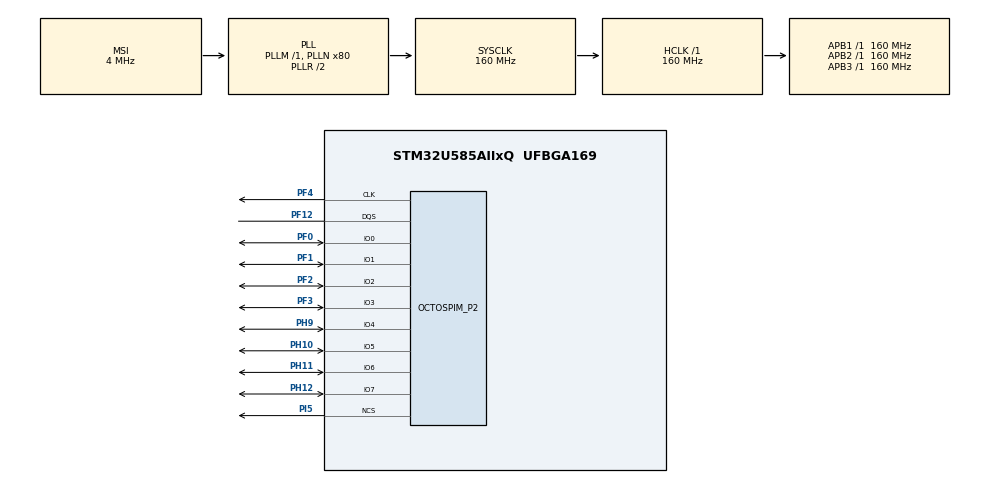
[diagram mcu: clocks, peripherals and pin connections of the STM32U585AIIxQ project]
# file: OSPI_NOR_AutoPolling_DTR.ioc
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CORTEX_M33_NS.userName=CORTEX_M33
DCACHE1.DCACHE_Read_Burst_Type=DCACHE_READ_BURST_INCR
Mcu.Family=STM32U5
Mcu.Name=STM32U585AIIxQ
Mcu.Package=UFBGA169
NVIC.OCTOSPI2_IRQn=true\:0\:0\:false\:false\:true\:true\:true\:true
NVIC.PriorityGroup=NVIC_PRIORITYGROUP_4
OCTOSPI2.ChipSelectBoundary=0
OCTOSPI2.ChipSelectHighTime=2
OCTOSPI2.ClockPrescaler=4
OCTOSPI2.DelayBlockBypass=HAL_OSPI_DELAY_BLOCK_USED
OCTOSPI2.DelayHoldQuarterCycle=HAL_OSPI_DHQC_ENABLE
OCTOSPI2.DeviceSize=26
OCTOSPI2.FifoThreshold=4
OCTOSPI2.MemoryType=HAL_OSPI_MEMTYPE_MACRONIX
OCTOSPI2.PhaseSel=2
OCTOSPI2.Units=56
PF0.GPIO_Speed_High_Default=GPIO_SPEED_FREQ_HIGH
PF0.Mode=OCTOSPI2_IOL_Port2L
PF0.Signal=OCTOSPIM_P2_IO0
PF1.GPIO_Speed_High_Default=GPIO_SPEED_FREQ_HIGH
PF1.Mode=OCTOSPI2_IOL_Port2L
PF1.Signal=OCTOSPIM_P2_IO1
PF12.GPIO_Speed_High_Default=GPIO_SPEED_FREQ_HIGH
PF12.Mode=OCTOSPI2_Port2_DQS
PF12.Signal=OCTOSPIM_P2_DQS
PF2.GPIO_Speed_High_Default=GPIO_SPEED_FREQ_HIGH
PF2.Mode=OCTOSPI2_IOL_Port2L
PF2.Signal=OCTOSPIM_P2_IO2
PF3.GPIO_Speed_High_Default=GPIO_SPEED_FREQ_HIGH
PF3.Mode=OCTOSPI2_IOL_Port2L
PF3.Signal=OCTOSPIM_P2_IO3
PF4.GPIO_Speed_High_Default=GPIO_SPEED_FREQ_HIGH
PF4.Mode=O2_P2_CLK
PF4.Signal=OCTOSPIM_P2_CLK
PH10.GPIO_Speed_High_Default=GPIO_SPEED_FREQ_HIGH
PH10.Mode=OCTOSPI2_IOH_Port2H
PH10.Signal=OCTOSPIM_P2_IO5
PH11.GPIO_Speed_High_Default=GPIO_SPEED_FREQ_HIGH
PH11.Mode=OCTOSPI2_IOH_Port2H
PH11.Signal=OCTOSPIM_P2_IO6
PH12.GPIO_Speed_High_Default=GPIO_SPEED_FREQ_HIGH
PH12.Mode=OCTOSPI2_IOH_Port2H
PH12.Signal=OCTOSPIM_P2_IO7
PH9.GPIO_Speed_High_Default=GPIO_SPEED_FREQ_HIGH
PH9.Mode=OCTOSPI2_IOH_Port2H
PH9.Signal=OCTOSPIM_P2_IO4
PI5.GPIO_PuPd=GPIO_NOPULL
PI5.GPIO_Speed_High_Default=GPIO_SPEED_FREQ_HIGH
PI5.Mode=OCTOSPI2_Port2_NCS
PI5.Signal=OCTOSPIM_P2_NCS
PWR.PowerMode=PWR_SMPS_SUPPLY
ProjectManager.HeapSize=0x200
ProjectManager.StackSize=0x400
ProjectManager.TargetToolchain=EWARM V8.50
RCC.ADCFreq_Value=16000000
RCC.AHBFreq_Value=160000000
RCC.APB1Freq_Value=160000000
RCC.APB1TimFreq_Value=160000000
RCC.APB2Freq_Value=160000000
RCC.APB2TimFreq_Value=160000000
RCC.APB3Freq_Value=160000000
RCC.CortexFreq_Value=160000000
RCC.DACCLockSelectionVirtual=RCC_DAC1CLKSOURCE_LSI
RCC.DACCLockSelectionVirtualString=RCC_DAC1CLKSOURCE_LSI
RCC.EPOD_VALUE=4000000
RCC.HCLKFreq_Value=160000000
RCC.HSE_VALUE=16000000
RCC.HSI48_VALUE=48000000
RCC.HSI_VALUE=16000000
RCC.LSE_VALUE=32768
RCC.LSIDIV_VALUE=32000
RCC.MSI_VALUE=4000000
RCC.PLLN=80
RCC.SYSCLKFreq_VALUE=160000000
RCC.SYSCLKSource=RCC_SYSCLKSOURCE_PLLCLK
RCC.USBFreq_Value=48000000
RCC.VCOOutputFreq_Value=320000000
VP_DCACHE1_VS_DCACHE.Mode=DCACHE_Activate
VP_ICACHE_VS_ICACHE.Mode=DirectMappedCache
VP_LPBAMQUEUE_VS_QUEUE.Mode=QUEUEMODE
VP_LPBAM_VS_SIG1.Mode=SmartRun
VP_LPBAM_VS_SIG4.Mode=LPDMA1
VP_OCTOSPI2_VS_octo.Mode=octo_mode
VP_PWR_VS_DBSignals.Mode=DisableDeadBatterySignals
VP_PWR_VS_LPOM.Mode=PowerOptimisation
VP_PWR_VS_SECSignals.Mode=Security/Privilege
board=custom

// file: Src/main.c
/* USER CODE BEGIN Header */
/**
  ******************************************************************************
  * @file           : main.c
  * @brief          : Main program body
  ******************************************************************************
  * @attention
  *
  * Copyright (c) 2021 STMicroelectronics.
  * All rights reserved.
  *
  * This software is licensed under terms that can be found in the LICENSE file
  * in the root directory of this software component.
  * If no LICENSE file comes with this software, it is provided AS-IS.
  *
  ******************************************************************************
  */
/* USER CODE END Header */
#include "main.h"

DCACHE_HandleTypeDef hdcache1;

OSPI_HandleTypeDef hospi2;

/* USER CODE BEGIN PV */
/* Buffer used for transmission */
     uint8_t aTxBuffer[BUFFERSIZE];

/* Buffer used for reception */
__IO uint8_t aRxBuffer[BUFFERSIZE];
/* USER CODE END PV */

void SystemClock_Config(void);
static void SystemPower_Config(void);
static void MX_GPIO_Init(void);
static void MX_DCACHE1_Init(void);
static void MX_ICACHE_Init(void);
static void MX_OCTOSPI2_Init(void);
/* USER CODE BEGIN PFP */
static void OSPI_WriteEnable(OSPI_HandleTypeDef *hospi);
static void OSPI_AutoPollingMemReady(OSPI_HandleTypeDef *hospi);
static void OSPI_OctalDtrModeCfg(OSPI_HandleTypeDef *hospi);
/* USER CODE END PFP */

int main(void)
{

  /* USER CODE BEGIN 1 */
  OSPI_RegularCmdTypeDef sCommand = {0};
  uint16_t index, errorBuffer = 0;

  /* STM32U5xx HAL library initialization:
  - Configure the Flash prefetch
  - Configure the Systick to generate an interrupt each 1 msec
  - Set NVIC Group Priority to 3
  - Low Level Initialization
  */
  /* USER CODE END 1 */

  /* MCU Configuration--------------------------------------------------------*/

  /* Reset of all peripherals, Initializes the Flash interface and the Systick. */
  HAL_Init();

  /* Configure the System Power */
  SystemPower_Config();

  /* Configure the system clock */
  SystemClock_Config();

  /* USER CODE BEGIN SysInit */
  BSP_LED_Init(LED6);
  BSP_LED_Init(LED7);
  /* USER CODE END SysInit */

  /* Initialize all configured peripherals */
  MX_GPIO_Init();
  MX_DCACHE1_Init();
  MX_ICACHE_Init();
  MX_OCTOSPI2_Init();
  /* USER CODE BEGIN 2 */

  /* Initialize Transmission and Reception buffer --------------------------------------- */
  for (index = 0; index < BUFFERSIZE; index++)
  {
    aTxBuffer[index] = index;
    aRxBuffer[index] = 0;
  }

  /* Configure the memory in octal mode ------------------------------------- */
  OSPI_OctalDtrModeCfg(&hospi2);

  /* Erasing Sequence ----------------------------------------------- */
  OSPI_WriteEnable(&hospi2);

  sCommand.FlashId            = HAL_OSPI_FLASH_ID_1;
  sCommand.OperationType      = HAL_OSPI_OPTYPE_COMMON_CFG;
  sCommand.Instruction        = OCTAL_SECTOR_ERASE_CMD;
  sCommand.InstructionMode    = HAL_OSPI_INSTRUCTION_8_LINES;
  sCommand.InstructionSize    = HAL_OSPI_INSTRUCTION_16_BITS;
  sCommand.InstructionDtrMode = HAL_OSPI_INSTRUCTION_DTR_ENABLE;
  sCommand.AddressMode        = HAL_OSPI_ADDRESS_8_LINES;
  sCommand.AddressSize        = HAL_OSPI_ADDRESS_32_BITS;
  sCommand.AddressDtrMode     = HAL_OSPI_ADDRESS_DTR_ENABLE;
  sCommand.AlternateBytesMode = HAL_OSPI_ALTERNATE_BYTES_NONE;
  sCommand.DataDtrMode        = HAL_OSPI_DATA_DTR_ENABLE;
  sCommand.SIOOMode           = HAL_OSPI_SIOO_INST_EVERY_CMD;
  sCommand.DataMode           = HAL_OSPI_DATA_NONE;
  sCommand.Address            = 0;
  sCommand.DummyCycles        = 0;
  sCommand.DQSMode            = HAL_OSPI_DQS_DISABLE;

  if (HAL_OSPI_Command(&hospi2, &sCommand, HAL_OSPI_TIMEOUT_DEFAULT_VALUE) != HAL_OK)
  {
    Error_Handler();
  }

  /* Configure automatic polling mode to wait for end of erase ------- */
  OSPI_AutoPollingMemReady(&hospi2);

  /* Writing Sequence ------------------------------------------------ */
  OSPI_WriteEnable(&hospi2);

  sCommand.Instruction = OCTAL_PAGE_PROG_CMD;
  sCommand.DataMode    = HAL_OSPI_DATA_8_LINES;
  sCommand.NbData      = BUFFERSIZE;
  sCommand.Address     = 0;

  if (HAL_OSPI_Command(&hospi2, &sCommand, HAL_OSPI_TIMEOUT_DEFAULT_VALUE) != HAL_OK)
  {
    Error_Handler();
  }

  if (HAL_OSPI_Transmit(&hospi2, aTxBuffer, HAL_OSPI_TIMEOUT_DEFAULT_VALUE) != HAL_OK)
  {
    Error_Handler();
  }

  /* Configure automatic polling mode to wait for end of program ------- */
  OSPI_AutoPollingMemReady(&hospi2);

  /* Reading Sequence ------------------------------------------------ */
  sCommand.Instruction        = OCTAL_IO_DTR_READ_CMD;
  sCommand.DummyCycles        = DUMMY_CLOCK_CYCLES_READ_OCTAL;
  sCommand.NbData             = BUFFERSIZE;

  if (HAL_OSPI_Command(&hospi2, &sCommand, HAL_OSPI_TIMEOUT_DEFAULT_VALUE) != HAL_OK)
  {
    Error_Handler();
  }

  if (HAL_OSPI_Receive(&hospi2, (uint8_t *)aRxBuffer, HAL_OSPI_TIMEOUT_DEFAULT_VALUE) != HAL_OK)
  {
    Error_Handler();
  }

  /* Result comparison ----------------------------------------------- */
  for (index = 0; index < BUFFERSIZE; index++)
  {
    if (aRxBuffer[index] != aTxBuffer[index])
    {
      BSP_LED_On(LED6);
      errorBuffer++;
    }
  }

  if (errorBuffer == 0)
  {
    /* Turn LED7 on */
    BSP_LED_On(LED7);
  }

  /* DeInit OCTOSPI */
  HAL_OSPI_DeInit(&hospi2);
  /* USER CODE END 2 */

  /* Infinite loop */
  while (1)
  {

  }
}

void SystemClock_Config(void)
{
  RCC_OscInitTypeDef RCC_OscInitStruct = {0};
  RCC_ClkInitTypeDef RCC_ClkInitStruct = {0};

  /** Configure the main internal regulator output voltage
  */
  if (HAL_PWREx_ControlVoltageScaling(PWR_REGULATOR_VOLTAGE_SCALE1) != HAL_OK)
  {
    Error_Handler();
  }

  /** Initializes the CPU, AHB and APB buses clocks
  */
  RCC_OscInitStruct.OscillatorType = RCC_OSCILLATORTYPE_MSI;
  RCC_OscInitStruct.MSIState = RCC_MSI_ON;
  RCC_OscInitStruct.MSICalibrationValue = RCC_MSICALIBRATION_DEFAULT;
  RCC_OscInitStruct.MSIClockRange = RCC_MSIRANGE_4;
  RCC_OscInitStruct.PLL.PLLState = RCC_PLL_ON;
  RCC_OscInitStruct.PLL.PLLSource = RCC_PLLSOURCE_MSI;
  RCC_OscInitStruct.PLL.PLLMBOOST = RCC_PLLMBOOST_DIV1;
  RCC_OscInitStruct.PLL.PLLM = 1;
  RCC_OscInitStruct.PLL.PLLN = 80;
  RCC_OscInitStruct.PLL.PLLP = 2;
  RCC_OscInitStruct.PLL.PLLQ = 2;
  RCC_OscInitStruct.PLL.PLLR = 2;
  RCC_OscInitStruct.PLL.PLLRGE = RCC_PLLVCIRANGE_0;
  RCC_OscInitStruct.PLL.PLLFRACN = 0;
  if (HAL_RCC_OscConfig(&RCC_OscInitStruct) != HAL_OK)
  {
    Error_Handler();
  }

  /** Initializes the CPU, AHB and APB buses clocks
  */
  RCC_ClkInitStruct.ClockType = RCC_CLOCKTYPE_HCLK|RCC_CLOCKTYPE_SYSCLK
                              |RCC_CLOCKTYPE_PCLK1|RCC_CLOCKTYPE_PCLK2
                              |RCC_CLOCKTYPE_PCLK3;
  RCC_ClkInitStruct.SYSCLKSource = RCC_SYSCLKSOURCE_PLLCLK;
  RCC_ClkInitStruct.AHBCLKDivider = RCC_SYSCLK_DIV1;
  RCC_ClkInitStruct.APB1CLKDivider = RCC_HCLK_DIV1;
  RCC_ClkInitStruct.APB2CLKDivider = RCC_HCLK_DIV1;
  RCC_ClkInitStruct.APB3CLKDivider = RCC_HCLK_DIV1;

  if (HAL_RCC_ClockConfig(&RCC_ClkInitStruct, FLASH_LATENCY_4) != HAL_OK)
  {
    Error_Handler();
  }
}

/**
  * @brief Power Configuration
  * @retval None
  */
static void SystemPower_Config(void)
{

  /*
   * Disable the internal Pull-Up in Dead Battery pins of UCPD peripheral
   */
  HAL_PWREx_DisableUCPDDeadBattery();

  /*
   * Switch to SMPS regulator instead of LDO
   */
  if (HAL_PWREx_ConfigSupply(PWR_SMPS_SUPPLY) != HAL_OK)
  {
    Error_Handler();
  }
}

static void MX_DCACHE1_Init(void)
{

  hdcache1.Instance = DCACHE1;
  hdcache1.Init.ReadBurstType = DCACHE_READ_BURST_INCR;
  if (HAL_DCACHE_Init(&hdcache1) != HAL_OK)
  {
    Error_Handler();
  }

}

static void MX_ICACHE_Init(void)
{

  /** Enable instruction cache in 1-way (direct mapped cache)
  */
  if (HAL_ICACHE_ConfigAssociativityMode(ICACHE_1WAY) != HAL_OK)
  {
    Error_Handler();
  }
  if (HAL_ICACHE_Enable() != HAL_OK)
  {
    Error_Handler();
  }

}

static void MX_OCTOSPI2_Init(void)
{

  OSPIM_CfgTypeDef sOspiManagerCfg = {0};
  HAL_OSPI_DLYB_CfgTypeDef HAL_OSPI_DLYB_Cfg_Struct = {0};

  /* OCTOSPI2 parameter configuration*/
  hospi2.Instance = OCTOSPI2;
  hospi2.Init.FifoThreshold = 4;
  hospi2.Init.DualQuad = HAL_OSPI_DUALQUAD_DISABLE;
  hospi2.Init.MemoryType = HAL_OSPI_MEMTYPE_MACRONIX;
  hospi2.Init.DeviceSize = 26;
  hospi2.Init.ChipSelectHighTime = 2;
  hospi2.Init.FreeRunningClock = HAL_OSPI_FREERUNCLK_DISABLE;
  hospi2.Init.ClockMode = HAL_OSPI_CLOCK_MODE_0;
  hospi2.Init.WrapSize = HAL_OSPI_WRAP_NOT_SUPPORTED;
  hospi2.Init.ClockPrescaler = 4;
  hospi2.Init.SampleShifting = HAL_OSPI_SAMPLE_SHIFTING_NONE;
  hospi2.Init.DelayHoldQuarterCycle = HAL_OSPI_DHQC_ENABLE;
  hospi2.Init.ChipSelectBoundary = 0;
  hospi2.Init.DelayBlockBypass = HAL_OSPI_DELAY_BLOCK_USED;
  hospi2.Init.MaxTran = 0;
  hospi2.Init.Refresh = 0;
  if (HAL_OSPI_Init(&hospi2) != HAL_OK)
  {
    Error_Handler();
  }
  sOspiManagerCfg.ClkPort = 2;
  sOspiManagerCfg.DQSPort = 2;
  sOspiManagerCfg.NCSPort = 2;
  sOspiManagerCfg.IOLowPort = HAL_OSPIM_IOPORT_2_LOW;
  sOspiManagerCfg.IOHighPort = HAL_OSPIM_IOPORT_2_HIGH;
  if (HAL_OSPIM_Config(&hospi2, &sOspiManagerCfg, HAL_OSPI_TIMEOUT_DEFAULT_VALUE) != HAL_OK)
  {
    Error_Handler();
  }
  HAL_OSPI_DLYB_Cfg_Struct.Units = 56;
  HAL_OSPI_DLYB_Cfg_Struct.PhaseSel = 2;
  if (HAL_OSPI_DLYB_SetConfig(&hospi2, &HAL_OSPI_DLYB_Cfg_Struct) != HAL_OK)
  {
    Error_Handler();
  }

}

static void MX_GPIO_Init(void)
{

  /* GPIO Ports Clock Enable */
  __HAL_RCC_GPIOI_CLK_ENABLE();
  __HAL_RCC_GPIOH_CLK_ENABLE();
  __HAL_RCC_GPIOF_CLK_ENABLE();

}

/* USER CODE BEGIN 4 */
/**
  * @brief  Transfer Error callback.
  * @param  hospi: OSPI handle
  * @retval None
  */
void HAL_OSPI_ErrorCallback(OSPI_HandleTypeDef *hospi)
{
  Error_Handler();
}

/**
  * @brief  This function send a Write Enable and wait it is effective.
  * @param  hospi: OSPI handle
  * @retval None
  */
static void OSPI_WriteEnable(OSPI_HandleTypeDef *hospi)
{
  OSPI_RegularCmdTypeDef  sCommand = {0};
  uint8_t reg[2];

  /* Enable write operations ------------------------------------------ */
  sCommand.OperationType      = HAL_OSPI_OPTYPE_COMMON_CFG;
  sCommand.FlashId            = HAL_OSPI_FLASH_ID_1;
  sCommand.Instruction        = OCTAL_WRITE_ENABLE_CMD;
  sCommand.InstructionMode    = HAL_OSPI_INSTRUCTION_8_LINES;
  sCommand.InstructionSize    = HAL_OSPI_INSTRUCTION_16_BITS;
  sCommand.InstructionDtrMode = HAL_OSPI_INSTRUCTION_DTR_ENABLE;
  sCommand.AddressMode        = HAL_OSPI_ADDRESS_NONE;
  sCommand.AlternateBytesMode = HAL_OSPI_ALTERNATE_BYTES_NONE;
  sCommand.DataMode           = HAL_OSPI_DATA_NONE;
  sCommand.DummyCycles        = 0;
  sCommand.DQSMode            = HAL_OSPI_DQS_DISABLE;
  sCommand.SIOOMode           = HAL_OSPI_SIOO_INST_EVERY_CMD;

  if (HAL_OSPI_Command(hospi, &sCommand, HAL_OSPI_TIMEOUT_DEFAULT_VALUE) != HAL_OK)
  {
    Error_Handler();
  }

  /* Configure automatic polling mode to wait for write enabling ---- */
  sCommand.Instruction    = OCTAL_READ_STATUS_REG_CMD;
  sCommand.Address        = 0x0;
  sCommand.AddressMode    = HAL_OSPI_ADDRESS_8_LINES;
  sCommand.AddressSize    = HAL_OSPI_ADDRESS_32_BITS;
  sCommand.AddressDtrMode = HAL_OSPI_ADDRESS_DTR_ENABLE;
  sCommand.DataMode       = HAL_OSPI_DATA_8_LINES;
  sCommand.DataDtrMode    = HAL_OSPI_DATA_DTR_ENABLE;
  sCommand.NbData         = 2;
  sCommand.DummyCycles    = DUMMY_CLOCK_CYCLES_READ_OCTAL;
  sCommand.DQSMode        = HAL_OSPI_DQS_ENABLE;

   do
  {
    if (HAL_OSPI_Command(hospi, &sCommand, HAL_OSPI_TIMEOUT_DEFAULT_VALUE) != HAL_OK)
    {
      Error_Handler();
    }

    if (HAL_OSPI_Receive(hospi, reg, HAL_OSPI_TIMEOUT_DEFAULT_VALUE) != HAL_OK)
    {
      Error_Handler();
    }
  } while((reg[0] & WRITE_ENABLE_MASK_VALUE) != WRITE_ENABLE_MATCH_VALUE);
}

/**
  * @brief  This function read the SR of the memory and wait the EOP.
  * @param  hospi: OSPI handle
  * @retval None
  */
static void OSPI_AutoPollingMemReady(OSPI_HandleTypeDef *hospi)
{
  OSPI_RegularCmdTypeDef  sCommand = {0};
  uint8_t reg[2];

  /* Configure automatic polling mode to wait for memory ready ------ */
  sCommand.OperationType      = HAL_OSPI_OPTYPE_COMMON_CFG;
  sCommand.FlashId            = HAL_OSPI_FLASH_ID_1;
  sCommand.Instruction        = OCTAL_READ_STATUS_REG_CMD;
  sCommand.InstructionMode    = HAL_OSPI_INSTRUCTION_8_LINES;
  sCommand.InstructionSize    = HAL_OSPI_INSTRUCTION_16_BITS;
  sCommand.InstructionDtrMode = HAL_OSPI_INSTRUCTION_DTR_ENABLE;
  sCommand.Address            = 0x0;
  sCommand.AddressMode        = HAL_OSPI_ADDRESS_8_LINES;
  sCommand.AddressSize        = HAL_OSPI_ADDRESS_32_BITS;
  sCommand.AddressDtrMode     = HAL_OSPI_ADDRESS_DTR_ENABLE;
  sCommand.AlternateBytesMode = HAL_OSPI_ALTERNATE_BYTES_NONE;
  sCommand.DataMode           = HAL_OSPI_DATA_8_LINES;
  sCommand.DataDtrMode        = HAL_OSPI_DATA_DTR_ENABLE;
  sCommand.NbData             = 2;
  sCommand.DummyCycles        = DUMMY_CLOCK_CYCLES_READ_OCTAL;
  sCommand.DQSMode            = HAL_OSPI_DQS_ENABLE;
  sCommand.SIOOMode           = HAL_OSPI_SIOO_INST_EVERY_CMD;

  do
  {
    if (HAL_OSPI_Command(hospi, &sCommand, HAL_OSPI_TIMEOUT_DEFAULT_VALUE) != HAL_OK)
    {
      Error_Handler();
    }

    if (HAL_OSPI_Receive(hospi, reg, HAL_OSPI_TIMEOUT_DEFAULT_VALUE) != HAL_OK)
    {
      Error_Handler();
    }
  } while((reg[0] & MEMORY_READY_MASK_VALUE) != MEMORY_READY_MATCH_VALUE);
}

/**
  * @brief  This function configure the memory in Octal DTR mode.
  * @param  hospi: OSPI handle
  * @retval None
  */
static void OSPI_OctalDtrModeCfg(OSPI_HandleTypeDef *hospi)
{
  uint8_t reg;
  OSPI_RegularCmdTypeDef  sCommand = {0};
  OSPI_AutoPollingTypeDef sConfig  = {0};

  sCommand.OperationType      = HAL_OSPI_OPTYPE_COMMON_CFG;
  sCommand.FlashId            = HAL_OSPI_FLASH_ID_1;
  sCommand.InstructionMode    = HAL_OSPI_INSTRUCTION_1_LINE;
  sCommand.InstructionSize    = HAL_OSPI_INSTRUCTION_8_BITS;
  sCommand.InstructionDtrMode = HAL_OSPI_INSTRUCTION_DTR_DISABLE;
  sCommand.AddressDtrMode     = HAL_OSPI_ADDRESS_DTR_DISABLE;
  sCommand.AlternateBytesMode = HAL_OSPI_ALTERNATE_BYTES_NONE;
  sCommand.DataDtrMode        = HAL_OSPI_DATA_DTR_DISABLE;
  sCommand.DummyCycles        = 0;
  sCommand.DQSMode            = HAL_OSPI_DQS_DISABLE;
  sCommand.SIOOMode           = HAL_OSPI_SIOO_INST_EVERY_CMD;

  sConfig.MatchMode           = HAL_OSPI_MATCH_MODE_AND;
  sConfig.AutomaticStop       = HAL_OSPI_AUTOMATIC_STOP_ENABLE;
  sConfig.Interval            = 0x10;

  /* Enable write operations */
  sCommand.Instruction = WRITE_ENABLE_CMD;
  sCommand.DataMode    = HAL_OSPI_DATA_NONE;
  sCommand.AddressMode = HAL_OSPI_ADDRESS_NONE;

  if (HAL_OSPI_Command(hospi, &sCommand, HAL_OSPI_TIMEOUT_DEFAULT_VALUE) != HAL_OK)
  {
    Error_Handler();
  }

  /* Reconfigure OSPI to automatic polling mode to wait for write enabling */
  sConfig.Match           = 0x02;
  sConfig.Mask            = 0x02;

  sCommand.Instruction    = READ_STATUS_REG_CMD;
  sCommand.DataMode       = HAL_OSPI_DATA_1_LINE;
  sCommand.NbData         = 1;

  if (HAL_OSPI_Command(hospi, &sCommand, HAL_OSPI_TIMEOUT_DEFAULT_VALUE) != HAL_OK)
  {
    Error_Handler();
  }

  if (HAL_OSPI_AutoPolling(hospi, &sConfig, HAL_OSPI_TIMEOUT_DEFAULT_VALUE) != HAL_OK)
  {
    Error_Handler();
  }

  /* Write Configuration register 2 (with Octal I/O SPI protocol) */
  sCommand.Instruction = WRITE_CFG_REG_2_CMD;
  sCommand.AddressMode = HAL_OSPI_ADDRESS_1_LINE;
  sCommand.AddressSize = HAL_OSPI_ADDRESS_32_BITS;

  sCommand.Address = 0;
  reg = 0x2;

  if (HAL_OSPI_Command(hospi, &sCommand, HAL_OSPI_TIMEOUT_DEFAULT_VALUE) != HAL_OK)
  {
    Error_Handler();
  }

  if (HAL_OSPI_Transmit(hospi, &reg, HAL_OSPI_TIMEOUT_DEFAULT_VALUE) != HAL_OK)
  {
    Error_Handler();
  }

  HAL_Delay(40);

}
/* USER CODE END 4 */

void Error_Handler(void)
{
  /* USER CODE BEGIN Error_Handler_Debug */
  /* User can add his own implementation to report the HAL error return state */
  __disable_irq();
  while (1)
  {
    HAL_Delay(100);
    BSP_LED_Toggle(LED_RED);
  }
  /* USER CODE END Error_Handler_Debug */
}
